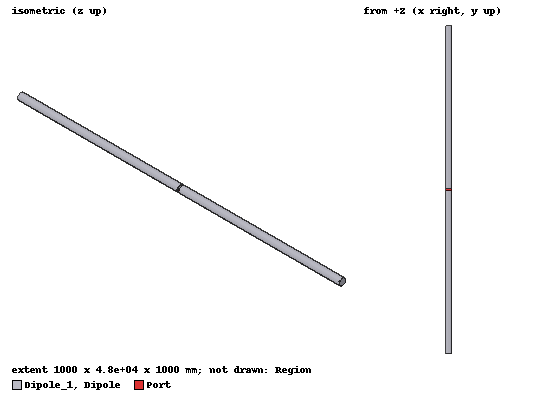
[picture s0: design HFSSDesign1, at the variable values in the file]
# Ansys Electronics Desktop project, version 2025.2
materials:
  vacuum: permittivity=1
  pec: conductivity=1e+30
  air: permittivity=1.0006 permeability=1.0000004

design HFSSDesign1 (HFSS, HFSS Modal Network, model units mm)
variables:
  lambda = 100m
  gap = 0.24m
  length = 0.48*lambda
  dip_length = length/2-gap/2
  dip_radius = lambda/200
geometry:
  Dipole [pec] = cylinder(axis=Y, base_centre=(0mm, gap/2, 0mm), radius=dip_radius, height=dip_length)
  Dipole_1 [pec] = Dipole.duplicate_around_axis(axis=X, angle=180deg, total=2)
  Port = rectangle(corner=(-dip_radius, -gap/2, 0mm), x_size=2*dip_radius, y_size=gap)
  Region [air] = region(absolute_offset=lambda/4 on all sides)
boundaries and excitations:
  Rad1: Radiation Objects=Region
  1: Lumped Port Objects=Port LumpedPortType=Default Modes{Mode1{IntLine{(0, -0.12, 0) -> (0, 0.12, 0)} CharImp=Zpi}} Impedance=73.2ohm
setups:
  Setup1: HfssDriven Frequency=3GHz MaxDeltaS=0.02 MaximumPasses=20 MinimumPasses=1 MinimumConvergedPasses=1 PercentRefinement=30 BasisOrder=1 PortAccuracy=2 DrivenSolverType="Direct Solver"
    sweep Sweep: 2.5GHz to 3.5GHz, 1000 points; Type=Fast SaveFields
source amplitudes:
  1:1: 1W 0deg
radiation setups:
  E_Plane: Infinite Sphere Theta=-180deg..180deg step 1deg Phi=0deg..0deg step 0deg
  H_Plane: Infinite Sphere Theta=90deg..90deg step 0deg Phi=0deg..360deg step 1deg
  3D_Sphere: Infinite Sphere Theta=0deg..180deg step 1deg Phi=0deg..360deg step 1deg
  antenna array: ParametricArray DesignFrequency=3GHz LayoutType=1 CenterCellX=0mm CenterCellY=0mm CenterCellZ=0mm SpecifyDesignInWavelength WidthSpacing=4.996541mm WidthSpacingInWavelength=0.05 Width=0.4996541mm WidthInWavelength=0.005 LengthSpacing=49.96541mm LengthSpacingInWavelength=0.5 Length=499.6541mm LengthInWavelength=5 SymmetryType=0 StaggerAngle=0deg StaggerType=0 UDirnX=0 UDirnY=0 UDirnZ=1 VDirnX=0 VDirnY=0 VDirnZ=0 WeightType=0 EdgeTaperX_db=-200 CosineExp=1 DifferentialType=0 Behavior=UsePhaseDifference ScanAnglePhi=45deg ScanAngleTheta=45deg UDirnPhaseShift=-90deg VDirnPhaseShift=0deg
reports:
  Gain Plot1: dB(GainTotal) vs Theta on Setup1 : LastAdaptive, E_Plane [Phi=all Freq=3GHz]; markers m1 at 47deg, m2 at -47deg, m3 at 60deg, m4 at -60deg
  Gain Plot2: dB10normalize(GainTotal) vs Phi on Setup1 : LastAdaptive, H_Plane [Theta=all Freq=3GHz]; markers m1 at 90deg, m2 at 270deg, m3 at 360deg, m4 at 180deg
  Gain Plot3: dB(GainTotal) vs Phi, Theta on Setup1 : LastAdaptive, 3D_Sphere [Freq=3GHz]
